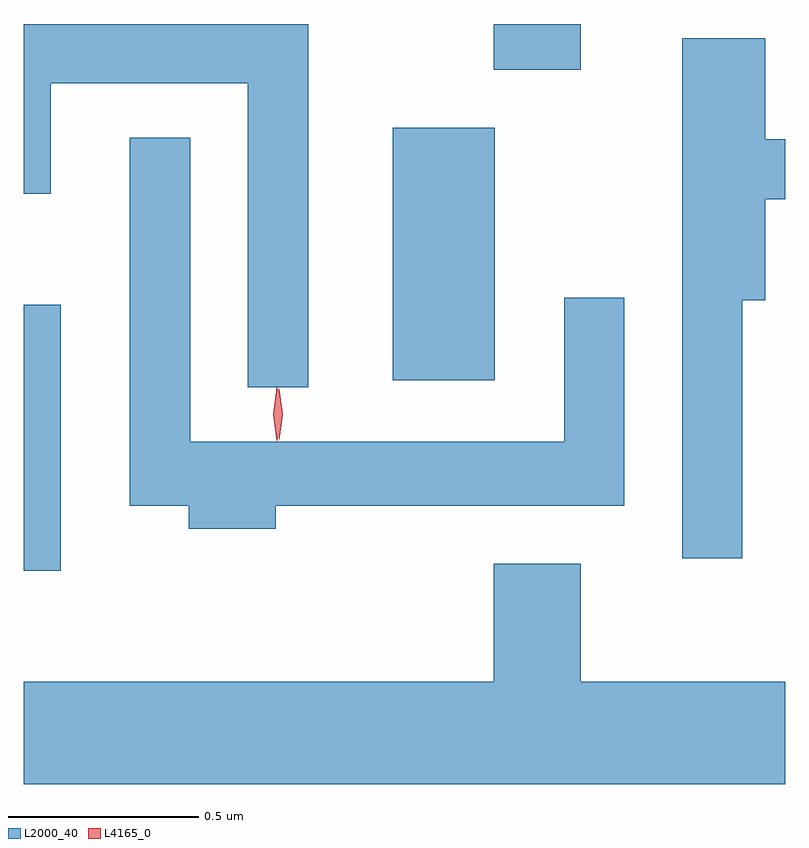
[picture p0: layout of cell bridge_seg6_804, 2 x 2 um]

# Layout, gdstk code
import gdstk
lib = gdstk.Library(unit=1e-6, precision=1e-09)
def R(c, l, rs):  # rectangles x0, y0, x1, y1
    for r in rs: c.add(gdstk.rectangle(r[:2], r[2:], *l))
def P(c, l, *ps):  # polygons
    for p in ps: c.add(gdstk.Polygon(p, *l))
L2000_40 = (2000, 40)
L4165_0 = (4165, 0)

bridge_seg6_804 = lib.new_cell('bridge_seg6_804')
R(bridge_seg6_804, L2000_40, [(525.457,1552.816,525.554,1553.514), (526.426,1553.316,526.694,1553.979), (526.691,1554.131,526.919,1554.251)])
P(bridge_seg6_804, L2000_40, [(526.204,1554.251),(525.457,1554.251),(525.457,1553.806),(525.529,1553.806),(525.529,1554.096),(526.046,1554.096),(526.046,1553.298),(526.204,1553.298)],
  [(527.344,1553.526),(527.404,1553.526),(527.404,1553.791),(527.457,1553.791),(527.457,1553.949),(527.404,1553.949),(527.404,1554.214),(527.186,1554.214),(527.186,1552.848),(527.344,1552.848)],
  [(526.119,1552.986),(527.034,1552.986),(527.034,1553.533),(526.876,1553.533),(526.876,1553.154),(525.894,1553.154),(525.894,1553.953),(525.736,1553.953),(525.736,1552.986),(525.891,1552.986),(525.891,1552.926),(526.119,1552.926)],
  [(527.457,1552.524),(526.919,1552.524),(526.919,1552.834),(526.691,1552.834),(526.691,1552.524),(525.457,1552.524),(525.457,1552.256),(527.457,1552.256)])
P(bridge_seg6_804, L4165_0, [(526.128,1553.159),(526.128,1553.16),(526.118,1553.226),(526.127,1553.292),(526.128,1553.293),(526.128,1553.292),(526.138,1553.226),(526.128,1553.16)],
  [(526.122,1553.157),(526.122,1553.157),(526.112,1553.227),(526.122,1553.296),(526.122,1553.296),(526.123,1553.296),(526.132,1553.227),(526.123,1553.157)])

lib.write_gds('bridge_seg6_804.gds')
